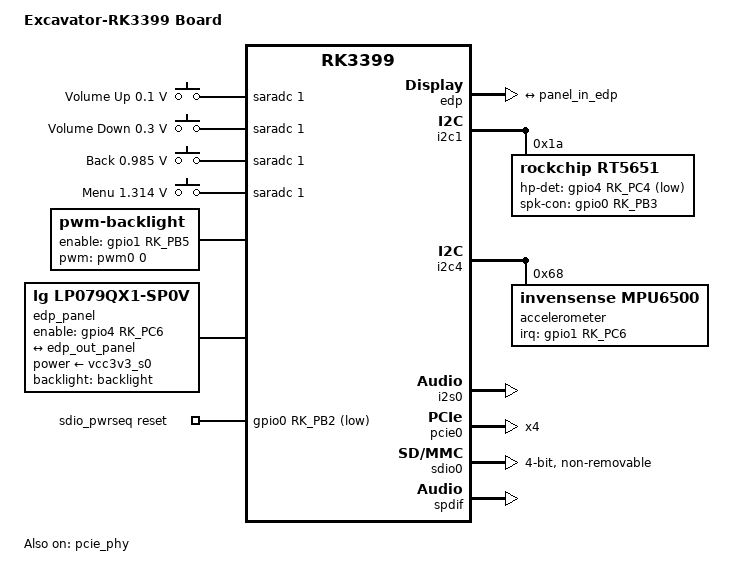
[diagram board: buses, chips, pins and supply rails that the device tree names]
// SPDX-License-Identifier: (GPL-2.0+ OR MIT)
/*
 * Copyright (c) 2017 Fuzhou Rockchip Electronics Co., Ltd.
 */

/dts-v1/;
#include "rk3399-sapphire.dtsi"

/ {
	model = "Excavator-RK3399 Board";
	compatible = "rockchip,rk3399-sapphire-excavator", "rockchip,rk3399";

	aliases {
		mmc2 = &sdio0;
	};

	adc-keys {
		compatible = "adc-keys";
		io-channels = <&saradc 1>;
		io-channel-names = "buttons";
		keyup-threshold-microvolt = <1800000>;
		poll-interval = <100>;

		button-up {
			label = "Volume Up";
			linux,code = <KEY_VOLUMEUP>;
			press-threshold-microvolt = <100000>;
		};

		button-down {
			label = "Volume Down";
			linux,code = <KEY_VOLUMEDOWN>;
			press-threshold-microvolt = <300000>;
		};

		back {
			label = "Back";
			linux,code = <KEY_BACK>;
			press-threshold-microvolt = <985000>;
		};

		menu {
			label = "Menu";
			linux,code = <KEY_MENU>;
			press-threshold-microvolt = <1314000>;
		};
	};

	backlight: backlight {
		compatible = "pwm-backlight";
		brightness-levels = <
			  0   1   2   3   4   5   6   7
			  8   9  10  11  12  13  14  15
			 16  17  18  19  20  21  22  23
			 24  25  26  27  28  29  30  31
			 32  33  34  35  36  37  38  39
			 40  41  42  43  44  45  46  47
			 48  49  50  51  52  53  54  55
			 56  57  58  59  60  61  62  63
			 64  65  66  67  68  69  70  71
			 72  73  74  75  76  77  78  79
			 80  81  82  83  84  85  86  87
			 88  89  90  91  92  93  94  95
			 96  97  98  99 100 101 102 103
			104 105 106 107 108 109 110 111
			112 113 114 115 116 117 118 119
			120 121 122 123 124 125 126 127
			128 129 130 131 132 133 134 135
			136 137 138 139 140 141 142 143
			144 145 146 147 148 149 150 151
			152 153 154 155 156 157 158 159
			160 161 162 163 164 165 166 167
			168 169 170 171 172 173 174 175
			176 177 178 179 180 181 182 183
			184 185 186 187 188 189 190 191
			192 193 194 195 196 197 198 199
			200 201 202 203 204 205 206 207
			208 209 210 211 212 213 214 215
			216 217 218 219 220 221 222 223
			224 225 226 227 228 229 230 231
			232 233 234 235 236 237 238 239
			240 241 242 243 244 245 246 247
			248 249 250 251 252 253 254 255>;
		default-brightness-level = <200>;
		enable-gpios = <&gpio1 RK_PB5 GPIO_ACTIVE_HIGH>;
		pwms = <&pwm0 0 25000 0>;
		status = "okay";
	};

	edp_panel: edp-panel {
		compatible = "lg,lp079qx1-sp0v";
		backlight = <&backlight>;
		enable-gpios = <&gpio4 RK_PC6 GPIO_ACTIVE_HIGH>;
		pinctrl-names = "default";
		pinctrl-0 = <&lcd_panel_reset>;
		power-supply = <&vcc3v3_s0>;

		port {
			panel_in_edp: endpoint {
				remote-endpoint = <&edp_out_panel>;
			};
		};
	};

	rt5651-sound {
		compatible = "simple-audio-card";
		simple-audio-card,name = "realtek,rt5651-codec";
		simple-audio-card,format = "i2s";
		simple-audio-card,mclk-fs = <256>;
		simple-audio-card,widgets =
			"Microphone", "Mic Jack",
			"Headphone", "Headphone Jack";
		simple-audio-card,routing =
			"Mic Jack", "MICBIAS1",
			"IN1P", "Mic Jack",
			"Headphone Jack", "HPOL",
			"Headphone Jack", "HPOR";
		simple-audio-card,cpu {
			sound-dai = <&i2s0>;
		};
		simple-audio-card,codec {
			sound-dai = <&rt5651>;
		};
	};

	sdio_pwrseq: sdio-pwrseq {
		compatible = "mmc-pwrseq-simple";
		clocks = <&rk808 1>;
		clock-names = "ext_clock";
		pinctrl-names = "default";
		pinctrl-0 = <&wifi_enable_h>;

		/*
		 * On the module itself this is one of these (depending
		 * on the actual card populated):
		 * - SDIO_RESET_L_WL_REG_ON
		 * - PDN (power down when low)
		 */
		reset-gpios = <&gpio0 RK_PB2 GPIO_ACTIVE_LOW>;
	};
};

&edp {
	status = "okay";

	ports {
		edp_out: port@1 {
			reg = <1>;
			#address-cells = <1>;
			#size-cells = <0>;

			edp_out_panel: endpoint@0 {
				reg = <0>;
				remote-endpoint = <&panel_in_edp>;
			};
		};
	};
};

&i2c1 {
	i2c-scl-rising-time-ns = <300>;
	i2c-scl-falling-time-ns = <15>;
	status = "okay";

	rt5651: rt5651@1a {
		compatible = "rockchip,rt5651";
		reg = <0x1a>;
		clocks = <&cru SCLK_I2S_8CH_OUT>;
		clock-names = "mclk";
		hp-det-gpio = <&gpio4 RK_PC4 GPIO_ACTIVE_LOW>;
		spk-con-gpio = <&gpio0 RK_PB3 GPIO_ACTIVE_HIGH>;
		#sound-dai-cells = <0>;
	};
};

&i2c4 {
	i2c-scl-rising-time-ns = <600>;
	i2c-scl-falling-time-ns = <20>;
	status = "okay";

	accelerometer@68 {
		compatible = "invensense,mpu6500";
		reg = <0x68>;
		interrupt-parent = <&gpio1>;
		interrupts = <RK_PC6 IRQ_TYPE_EDGE_RISING>;
	};
};

&i2s0 {
	rockchip,playback-channels = <8>;
	rockchip,capture-channels = <8>;
	status = "okay";
};

&pcie_phy {
	status = "okay";
};

&pcie0 {
	ep-gpios = <&gpio2 RK_PA4 GPIO_ACTIVE_HIGH>;
	num-lanes = <4>;
	pinctrl-names = "default";
	pinctrl-0 = <&pcie_clkreqn_cpm>;
	status = "okay";
};

&pinctrl {
	sdio-pwrseq {
		wifi_enable_h: wifi-enable-h {
			rockchip,pins = <0 RK_PB2 RK_FUNC_GPIO &pcfg_pull_none>;
		};
	};

	lcd-panel {
		lcd_panel_reset: lcd-panel-reset {
			rockchip,pins = <4 RK_PD6 RK_FUNC_GPIO &pcfg_pull_up>;
		};
	};
};

&sdio0 {
	bus-width = <4>;
	cap-sd-highspeed;
	cap-sdio-irq;
	clock-frequency = <50000000>;
	keep-power-in-suspend;
	max-frequency = <50000000>;
	mmc-pwrseq = <&sdio_pwrseq>;
	non-removable;
	pinctrl-names = "default";
	pinctrl-0 = <&sdio0_bus4 &sdio0_cmd &sdio0_clk>;
	sd-uhs-sdr104;
	status = "okay";
};

&spdif {
	status = "okay";
};
